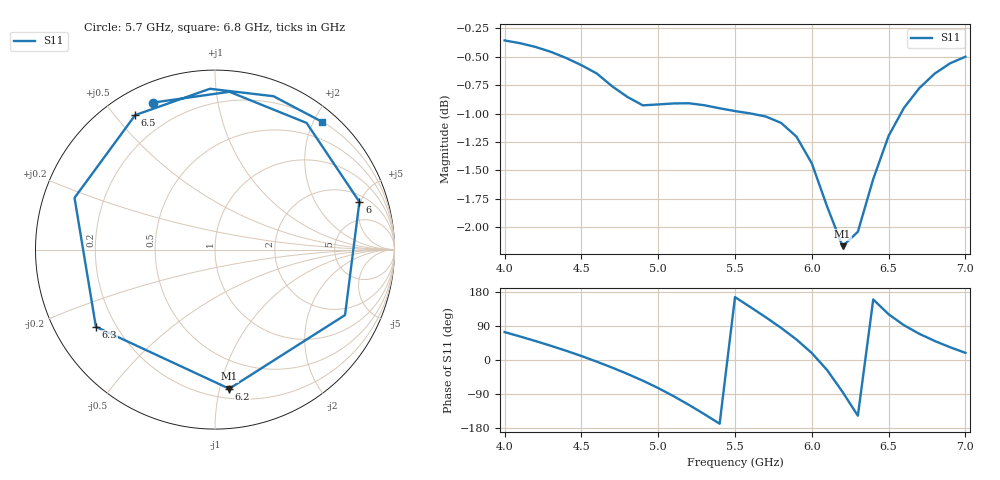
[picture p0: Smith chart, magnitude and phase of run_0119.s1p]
! Touchstone file exported from HFSS 2024.2.0
!  File:  C:/Users/wsak9/Desktop/Sim Fast/Widenad Patch/WP_AI_V1_sweep.aedt
!  Generated:  07:52:23 PM Oct 13, 2026
!  Design:  A1_model
!  Project:  WP_AI_V1_sweep
!  Setup:  Setup1
!  Solution:  Sweep
! Variables:
!  Air_gap = 4.36mm
!  Curve_Amp1 = 0.67
!  Curve_len1 = 1
!  Curve_pos = 9.98mm
!  Extra = 7.98mm
!  H_sub = 0.79mm
!  L_Patch = 15.96mm
!  L_Patch1 = 22.65mm
!  Sx = 4.69mm
!  Sy = 1.11mm
!  WS = 0.52mm
!  W_Patch = 21.25mm
!  W_Patch1 = 14.67mm
!Data is not renormalized
# GHz S MA
! Terminal data exported
! Port[1] = 1
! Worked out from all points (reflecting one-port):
!   31 points, 4 GHz to 7 GHz, reference per port
!   lowest |S11| = -2.2 dB at 6.2 GHz (marker M1), VSWR 8.06
!   phase of S11 starts at 74 deg and turns -775 deg over the sweep
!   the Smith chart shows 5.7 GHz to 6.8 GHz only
!   S11 on the Smith chart (normalised r, x): 5.7 GHz: 0.08, +0.66; 6 GHz: 2.58, +4.88; 6.2 GHz: 0.27, -1.07; 6.3 GHz: 0.13, -0.29; 6.5 GHz: 0.09, +0.57; 6.8 GHz: 0.21, +2.12
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4  0.9599 73.6
4.2  0.9537 50.2
4.4  0.943 24.5
4.6  0.9283 -4.4
4.7  0.9163 -20.0
4.8  0.9064 -36.8
4.9  0.8988 -54.5
5  0.8996 -74.1
5.1  0.9005 -95.4
5.2  0.9007 -118.4
5.3  0.8989 -142.8
5.4  0.8961 -168.2
5.5  0.8936 166.0
5.6  0.8915 139.7
5.7  0.8887 112.8
5.8  0.883 84.8
5.9  0.8708 54.1
6  0.8475 18.3
6.1  0.8111 -26.7
6.2  0.7792 -84.2
6.3  0.7907 -147.1
6.4  0.8341 159.8
6.5  0.8714 120.7
6.6  0.8965 91.8
6.7  0.9146 69.1
6.8  0.9282 50.2
6.9  0.9379 33.7
7  0.9442 18.9
